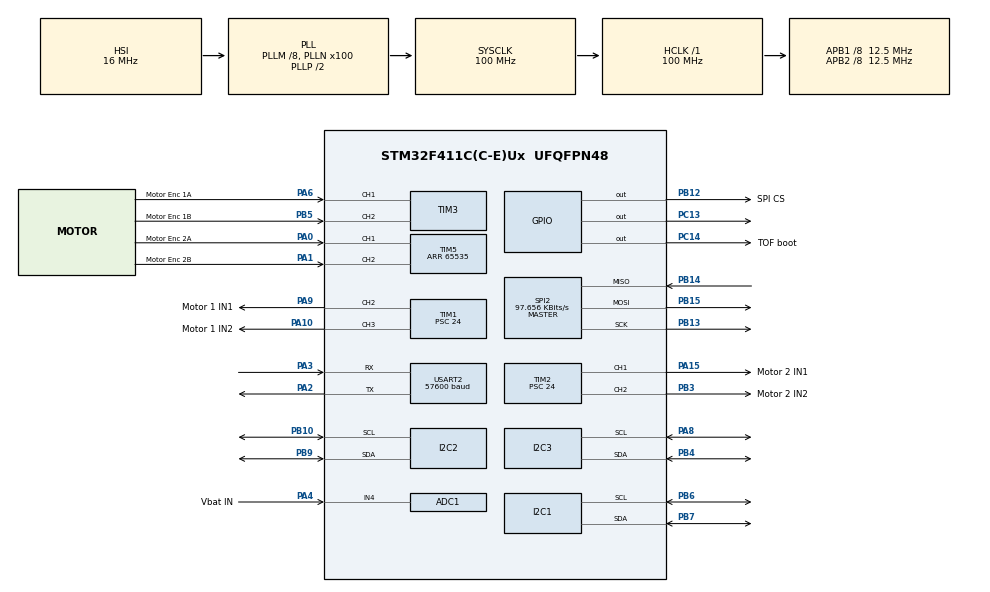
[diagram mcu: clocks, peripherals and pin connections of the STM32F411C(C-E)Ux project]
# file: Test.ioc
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ADC1.Channel-0\#ChannelRegularConversion=ADC_CHANNEL_4
ADC1.NbrOfConversionFlag=1
ADC1.Rank-0\#ChannelRegularConversion=1
ADC1.SamplingTime-0\#ChannelRegularConversion=ADC_SAMPLETIME_3CYCLES
ADC1.master=1
I2C1.I2C_Mode=I2C_Fast
I2C2.I2C_Mode=I2C_Fast
I2C3.I2C_Mode=I2C_Fast
Mcu.Family=STM32F4
Mcu.Name=STM32F411C(C-E)Ux
Mcu.Package=UFQFPN48
NVIC.I2C1_ER_IRQn=true\:0\:0\:false\:false\:true\:true\:true\:true
NVIC.I2C1_EV_IRQn=true\:0\:0\:false\:false\:true\:true\:true\:true
NVIC.I2C2_ER_IRQn=true\:0\:0\:true\:false\:true\:true\:true\:true
NVIC.I2C2_EV_IRQn=true\:0\:0\:true\:false\:true\:true\:true\:true
NVIC.I2C3_ER_IRQn=true\:0\:0\:true\:false\:true\:true\:true\:true
NVIC.I2C3_EV_IRQn=true\:0\:0\:true\:false\:true\:true\:true\:true
NVIC.PriorityGroup=NVIC_PRIORITYGROUP_4
NVIC.TIM1_TRG_COM_TIM11_IRQn=true\:0\:0\:false\:false\:true\:true\:true\:true
NVIC.USART2_IRQn=true\:0\:0\:false\:false\:true\:true\:true\:true
PA0-WKUP.GPIO_Label=Motor Enc 2A
PA0-WKUP.Signal=S_TIM5_CH1
PA1.GPIO_Label=Motor Enc 2B
PA1.Signal=S_TIM5_CH2
PA10.GPIO_Label=Motor 1 IN2
PA10.Signal=S_TIM1_CH3
PA15.GPIO_Label=Motor 2 IN1
PA15.Signal=S_TIM2_CH1_ETR
PA2.Mode=Asynchronous
PA2.Signal=USART2_TX
PA3.Mode=Asynchronous
PA3.Signal=USART2_RX
PA4.GPIO_Label=Vbat IN
PA4.Signal=ADCx_IN4
PA6.GPIO_Label=Motor Enc 1A
PA6.Signal=S_TIM3_CH1
PA8.Mode=I2C
PA8.Signal=I2C3_SCL
PA9.GPIO_Label=Motor 1 IN1
PA9.Signal=S_TIM1_CH2
PB10.Mode=I2C
PB10.Signal=I2C2_SCL
PB12.GPIO_Label=SPI CS
PB12.Signal=GPIO_Output
PB13.Mode=Full_Duplex_Master
PB13.Signal=SPI2_SCK
PB14.Mode=Full_Duplex_Master
PB14.Signal=SPI2_MISO
PB15.Mode=Full_Duplex_Master
PB15.Signal=SPI2_MOSI
PB3.GPIO_Label=Motor 2 IN2
PB3.Signal=S_TIM2_CH2
PB4.Mode=I2C
PB4.Signal=I2C3_SDA
PB5.GPIO_Label=Motor Enc 1B
PB5.Signal=S_TIM3_CH2
PB6.GPIO_Pu=GPIO_PULLUP
PB6.Mode=I2C
PB6.Signal=I2C1_SCL
PB7.Mode=I2C
PB7.Signal=I2C1_SDA
PB9.Mode=I2C
PB9.Signal=I2C2_SDA
PC13-ANTI_TAMP.Signal=GPIO_Output
PC14-OSC32_IN.GPIO_Label=TOF boot
PC14-OSC32_IN.GPIO_PuPd=GPIO_PULLUP
PC14-OSC32_IN.Signal=GPIO_Output
ProjectManager.HeapSize=0x200
ProjectManager.StackSize=0x400
ProjectManager.TargetToolchain=STM32CubeIDE
RCC.48MHZClocksFreq_Value=50000000
RCC.AHBFreq_Value=100000000
RCC.APB1CLKDivider=RCC_HCLK_DIV8
RCC.APB1Freq_Value=12500000
RCC.APB1TimFreq_Value=25000000
RCC.APB2CLKDivider=RCC_HCLK_DIV8
RCC.APB2Freq_Value=12500000
RCC.APB2TimFreq_Value=25000000
RCC.CortexFreq_Value=100000000
RCC.HCLKFreq_Value=100000000
RCC.HSE_VALUE=25000000
RCC.HSI_VALUE=16000000
RCC.LSE_VALUE=32768
RCC.PLLM=8
RCC.PLLN=100
RCC.SYSCLKFreq_VALUE=100000000
RCC.SYSCLKSource=RCC_SYSCLKSOURCE_PLLCLK
RCC.VCOOutputFreq_Value=200000000
SH.ADCx_IN4.0=ADC1_IN4,IN4
SH.S_TIM1_CH2.0=TIM1_CH2,PWM Generation2 CH2
SH.S_TIM1_CH3.0=TIM1_CH3,PWM Generation3 CH3
SH.S_TIM2_CH1_ETR.0=TIM2_CH1,PWM Generation1 CH1
SH.S_TIM2_CH2.0=TIM2_CH2,PWM Generation2 CH2
SH.S_TIM3_CH1.0=TIM3_CH1,Encoder_Interface
SH.S_TIM3_CH2.0=TIM3_CH2,Encoder_Interface
SH.S_TIM5_CH1.0=TIM5_CH1,Encoder_Interface
SH.S_TIM5_CH2.0=TIM5_CH2,Encoder_Interface
SPI2.BaudRatePrescaler=SPI_BAUDRATEPRESCALER_128
SPI2.CalculateBaudRate=97.656 KBits/s
SPI2.Direction=SPI_DIRECTION_2LINES
SPI2.Mode=SPI_MODE_MASTER
SPI2.VirtualType=VM_MASTER
TIM1.Channel-PWM\ Generation2\ CH2=TIM_CHANNEL_2
TIM1.Channel-PWM\ Generation3\ CH3=TIM_CHANNEL_3
TIM1.Period=1000
TIM1.Prescaler=24
TIM11.Period=8000
TIM11.Prescaler=24
TIM2.Channel-PWM\ Generation1\ CH1=TIM_CHANNEL_1
TIM2.Channel-PWM\ Generation2\ CH2=TIM_CHANNEL_2
TIM2.Period=1000
TIM2.Prescaler=24
TIM3.Channel-Input_Capture4_from_TI4=TIM_CHANNEL_4
TIM3.EncoderMode=TIM_ENCODERMODE_TI12
TIM5.EncoderMode=TIM_ENCODERMODE_TI12
TIM5.IC1Polarity=TIM_ICPOLARITY_FALLING
TIM5.Period=65535
USART2.BaudRate=57600
USART2.VirtualMode=VM_ASYNC
VP_TIM11_VS_ClockSourceINT.Mode=Enable_Timer
VP_TIM1_VS_ClockSourceINT.Mode=Internal
VP_TIM2_VS_ClockSourceINT.Mode=Internal
board=custom

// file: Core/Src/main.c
/* USER CODE BEGIN Header */
/**
 ******************************************************************************
 * @file           : main.c
 * @brief          : Main program body
 ******************************************************************************
 * @attention
 *
 * Copyright (c) 2024 STMicroelectronics.
 * All rights reserved.
 *
 * This software is licensed under terms that can be found in the LICENSE file
 * in the root directory of this software component.
 * If no LICENSE file comes with this software, it is provided AS-IS.
 *
 ******************************************************************************
 */
/* USER CODE END Header */
#include "main.h"

/* USER CODE BEGIN Includes */
#include "stdio.h"
#include "motor_control.h"
#include "globals.h"
#include "string.h"
#include "uart_driver.h"
#include "TOF_manager.h"
#include "mazemanager.h"
/* USER CODE END Includes */

ADC_HandleTypeDef hadc1;

I2C_HandleTypeDef hi2c1;
I2C_HandleTypeDef hi2c2;
I2C_HandleTypeDef hi2c3;

SPI_HandleTypeDef hspi2;

TIM_HandleTypeDef htim1;
TIM_HandleTypeDef htim2;
TIM_HandleTypeDef htim3;
TIM_HandleTypeDef htim5;
TIM_HandleTypeDef htim11;

UART_HandleTypeDef huart2;

/* USER CODE BEGIN PV */
extern char send_buffer[64];
extern int16_t L_prev_enc_count;
extern int16_t R_prev_enc_count;
extern int32_t L_ctrl_signal;
extern int32_t R_ctrl_signal;
extern int32_t L_error;
extern int32_t R_error;
extern int16_t L_speed_setpoint; //mm/s
extern int16_t R_speed_setpoint;//mm/s
extern uint8_t measurements[3]; //L:M:R
/* USER CODE END PV */

void SystemClock_Config(void);
static void MX_GPIO_Init(void);
static void MX_I2C1_Init(void);
static void MX_I2C2_Init(void);
static void MX_ADC1_Init(void);
static void MX_I2C3_Init(void);
static void MX_TIM3_Init(void);
static void MX_TIM5_Init(void);
static void MX_TIM1_Init(void);
static void MX_TIM2_Init(void);
static void MX_USART2_UART_Init(void);
static void MX_SPI2_Init(void);
static void MX_TIM11_Init(void);

int main(void)
{

  /* MCU Configuration--------------------------------------------------------*/

  /* Reset of all peripherals, Initializes the Flash interface and the Systick. */
  HAL_Init();

  /* Configure the system clock */
  SystemClock_Config();

  /* Initialize all configured peripherals */
  MX_GPIO_Init();
  MX_I2C1_Init();
  MX_I2C2_Init();
  MX_ADC1_Init();
  MX_I2C3_Init();
  MX_TIM3_Init();
  MX_TIM5_Init();
  MX_TIM1_Init();
  MX_TIM2_Init();
  MX_USART2_UART_Init();
  MX_SPI2_Init();
  MX_TIM11_Init();
  /* USER CODE BEGIN 2 */
	motorsInit();
	TOF_init();
	maze_init();
	HAL_Delay(200);
	uart_startup_transmit();
//	HAL_ADC_Start(&hadc1);
	if (HAL_FLASH_Unlock() != HAL_OK) while(1){  HAL_Delay(10);}

	HAL_Delay(200);
//	int last_time = HAL_GetTick();
//
//	  while (1)
//	  {
//		  if (HAL_GetTick()- last_time > 9){
//			  last_time = HAL_GetTick();
//			  sprintf(send_buffer, "%d:%d:%d\n", measurements[0],measurements[1],measurements[2]);
//			  uart_transmit(send_buffer, strlen(send_buffer));
//		  }
//	  }
//	race_forward(360);
//	align();
	R_speed_setpoint = 0;
	L_speed_setpoint = 0;
	while(measurements[1]>100) HAL_Delay(100);
	while(measurements[1]<100) HAL_Delay(100);

	uint8_t runcount = 0;
	HAL_Delay(5000);
	while(runcount<6 && HAL_GetTick()<600*1000){
		explore();
		go_home();
		HAL_Delay(2000);
	//	race();
		race_man();
		HAL_Delay(1000);
		go_home();
		HAL_Delay(1000);
		runcount++;
	}
	uint32_t prev_ctr_loop_time = HAL_GetTick();
	uint32_t prev_main_loop_time = HAL_GetTick();

  /* USER CODE END 2 */

  /* Infinite loop */
  /* USER CODE BEGIN WHILE */
	while (1)
	{

		uart_task();
		if (HAL_GetTick() - prev_main_loop_time > 101){
			prev_main_loop_time = HAL_GetTick();

		}
		// main control loop: CONTROL_LOOP_PERIOD_MS
		if (HAL_GetTick() - prev_ctr_loop_time > STR_CONTROL_LOOP_PERIOD_MS){
			prev_ctr_loop_time = HAL_GetTick();
			sprintf(send_buffer, "L:%.3d M:%.3d R:%.3d LE:%.3d RE:%.3d\n",(int)measurements[0],(int)measurements[1] ,(int)measurements[2], (int)htim5.Instance->CNT, (int)htim3.Instance->CNT);
			uart_transmit(send_buffer, strlen(send_buffer));
		}
    /* USER CODE END WHILE */

	}
}

void SystemClock_Config(void)
{
  RCC_OscInitTypeDef RCC_OscInitStruct = {0};
  RCC_ClkInitTypeDef RCC_ClkInitStruct = {0};

  /** Configure the main internal regulator output voltage
  */
  __HAL_RCC_PWR_CLK_ENABLE();
  __HAL_PWR_VOLTAGESCALING_CONFIG(PWR_REGULATOR_VOLTAGE_SCALE1);

  /** Initializes the RCC Oscillators according to the specified parameters
  * in the RCC_OscInitTypeDef structure.
  */
  RCC_OscInitStruct.OscillatorType = RCC_OSCILLATORTYPE_HSI;
  RCC_OscInitStruct.HSIState = RCC_HSI_ON;
  RCC_OscInitStruct.HSICalibrationValue = RCC_HSICALIBRATION_DEFAULT;
  RCC_OscInitStruct.PLL.PLLState = RCC_PLL_ON;
  RCC_OscInitStruct.PLL.PLLSource = RCC_PLLSOURCE_HSI;
  RCC_OscInitStruct.PLL.PLLM = 8;
  RCC_OscInitStruct.PLL.PLLN = 100;
  RCC_OscInitStruct.PLL.PLLP = RCC_PLLP_DIV2;
  RCC_OscInitStruct.PLL.PLLQ = 4;
  if (HAL_RCC_OscConfig(&RCC_OscInitStruct) != HAL_OK)
  {
    Error_Handler();
  }

  /** Initializes the CPU, AHB and APB buses clocks
  */
  RCC_ClkInitStruct.ClockType = RCC_CLOCKTYPE_HCLK|RCC_CLOCKTYPE_SYSCLK
                              |RCC_CLOCKTYPE_PCLK1|RCC_CLOCKTYPE_PCLK2;
  RCC_ClkInitStruct.SYSCLKSource = RCC_SYSCLKSOURCE_PLLCLK;
  RCC_ClkInitStruct.AHBCLKDivider = RCC_SYSCLK_DIV1;
  RCC_ClkInitStruct.APB1CLKDivider = RCC_HCLK_DIV8;
  RCC_ClkInitStruct.APB2CLKDivider = RCC_HCLK_DIV8;

  if (HAL_RCC_ClockConfig(&RCC_ClkInitStruct, FLASH_LATENCY_3) != HAL_OK)
  {
    Error_Handler();
  }
}

static void MX_ADC1_Init(void)
{

  ADC_ChannelConfTypeDef sConfig = {0};

  /** Configure the global features of the ADC (Clock, Resolution, Data Alignment and number of conversion)
  */
  hadc1.Instance = ADC1;
  hadc1.Init.ClockPrescaler = ADC_CLOCK_SYNC_PCLK_DIV2;
  hadc1.Init.Resolution = ADC_RESOLUTION_12B;
  hadc1.Init.ScanConvMode = DISABLE;
  hadc1.Init.ContinuousConvMode = DISABLE;
  hadc1.Init.DiscontinuousConvMode = DISABLE;
  hadc1.Init.ExternalTrigConvEdge = ADC_EXTERNALTRIGCONVEDGE_NONE;
  hadc1.Init.ExternalTrigConv = ADC_SOFTWARE_START;
  hadc1.Init.DataAlign = ADC_DATAALIGN_RIGHT;
  hadc1.Init.NbrOfConversion = 1;
  hadc1.Init.DMAContinuousRequests = DISABLE;
  hadc1.Init.EOCSelection = ADC_EOC_SINGLE_CONV;
  if (HAL_ADC_Init(&hadc1) != HAL_OK)
  {
    Error_Handler();
  }

  /** Configure for the selected ADC regular channel its corresponding rank in the sequencer and its sample time.
  */
  sConfig.Channel = ADC_CHANNEL_4;
  sConfig.Rank = 1;
  sConfig.SamplingTime = ADC_SAMPLETIME_3CYCLES;
  if (HAL_ADC_ConfigChannel(&hadc1, &sConfig) != HAL_OK)
  {
    Error_Handler();
  }

}

static void MX_I2C1_Init(void)
{

  hi2c1.Instance = I2C1;
  hi2c1.Init.ClockSpeed = 400000;
  hi2c1.Init.DutyCycle = I2C_DUTYCYCLE_2;
  hi2c1.Init.OwnAddress1 = 0;
  hi2c1.Init.AddressingMode = I2C_ADDRESSINGMODE_7BIT;
  hi2c1.Init.DualAddressMode = I2C_DUALADDRESS_DISABLE;
  hi2c1.Init.OwnAddress2 = 0;
  hi2c1.Init.GeneralCallMode = I2C_GENERALCALL_DISABLE;
  hi2c1.Init.NoStretchMode = I2C_NOSTRETCH_DISABLE;
  if (HAL_I2C_Init(&hi2c1) != HAL_OK)
  {
    Error_Handler();
  }

}

static void MX_I2C2_Init(void)
{

  hi2c2.Instance = I2C2;
  hi2c2.Init.ClockSpeed = 400000;
  hi2c2.Init.DutyCycle = I2C_DUTYCYCLE_2;
  hi2c2.Init.OwnAddress1 = 0;
  hi2c2.Init.AddressingMode = I2C_ADDRESSINGMODE_7BIT;
  hi2c2.Init.DualAddressMode = I2C_DUALADDRESS_DISABLE;
  hi2c2.Init.OwnAddress2 = 0;
  hi2c2.Init.GeneralCallMode = I2C_GENERALCALL_DISABLE;
  hi2c2.Init.NoStretchMode = I2C_NOSTRETCH_DISABLE;
  if (HAL_I2C_Init(&hi2c2) != HAL_OK)
  {
    Error_Handler();
  }

}

static void MX_I2C3_Init(void)
{

  hi2c3.Instance = I2C3;
  hi2c3.Init.ClockSpeed = 400000;
  hi2c3.Init.DutyCycle = I2C_DUTYCYCLE_2;
  hi2c3.Init.OwnAddress1 = 0;
  hi2c3.Init.AddressingMode = I2C_ADDRESSINGMODE_7BIT;
  hi2c3.Init.DualAddressMode = I2C_DUALADDRESS_DISABLE;
  hi2c3.Init.OwnAddress2 = 0;
  hi2c3.Init.GeneralCallMode = I2C_GENERALCALL_DISABLE;
  hi2c3.Init.NoStretchMode = I2C_NOSTRETCH_DISABLE;
  if (HAL_I2C_Init(&hi2c3) != HAL_OK)
  {
    Error_Handler();
  }

}

static void MX_SPI2_Init(void)
{

  /* SPI2 parameter configuration*/
  hspi2.Instance = SPI2;
  hspi2.Init.Mode = SPI_MODE_MASTER;
  hspi2.Init.Direction = SPI_DIRECTION_2LINES;
  hspi2.Init.DataSize = SPI_DATASIZE_8BIT;
  hspi2.Init.CLKPolarity = SPI_POLARITY_LOW;
  hspi2.Init.CLKPhase = SPI_PHASE_1EDGE;
  hspi2.Init.NSS = SPI_NSS_SOFT;
  hspi2.Init.BaudRatePrescaler = SPI_BAUDRATEPRESCALER_128;
  hspi2.Init.FirstBit = SPI_FIRSTBIT_MSB;
  hspi2.Init.TIMode = SPI_TIMODE_DISABLE;
  hspi2.Init.CRCCalculation = SPI_CRCCALCULATION_DISABLE;
  hspi2.Init.CRCPolynomial = 10;
  if (HAL_SPI_Init(&hspi2) != HAL_OK)
  {
    Error_Handler();
  }

}

static void MX_TIM1_Init(void)
{

  TIM_ClockConfigTypeDef sClockSourceConfig = {0};
  TIM_MasterConfigTypeDef sMasterConfig = {0};
  TIM_OC_InitTypeDef sConfigOC = {0};
  TIM_BreakDeadTimeConfigTypeDef sBreakDeadTimeConfig = {0};

  htim1.Instance = TIM1;
  htim1.Init.Prescaler = 24;
  htim1.Init.CounterMode = TIM_COUNTERMODE_UP;
  htim1.Init.Period = 1000;
  htim1.Init.ClockDivision = TIM_CLOCKDIVISION_DIV1;
  htim1.Init.RepetitionCounter = 0;
  htim1.Init.AutoReloadPreload = TIM_AUTORELOAD_PRELOAD_DISABLE;
  if (HAL_TIM_Base_Init(&htim1) != HAL_OK)
  {
    Error_Handler();
  }
  sClockSourceConfig.ClockSource = TIM_CLOCKSOURCE_INTERNAL;
  if (HAL_TIM_ConfigClockSource(&htim1, &sClockSourceConfig) != HAL_OK)
  {
    Error_Handler();
  }
  if (HAL_TIM_PWM_Init(&htim1) != HAL_OK)
  {
    Error_Handler();
  }
  sMasterConfig.MasterOutputTrigger = TIM_TRGO_RESET;
  sMasterConfig.MasterSlaveMode = TIM_MASTERSLAVEMODE_DISABLE;
  if (HAL_TIMEx_MasterConfigSynchronization(&htim1, &sMasterConfig) != HAL_OK)
  {
    Error_Handler();
  }
  sConfigOC.OCMode = TIM_OCMODE_PWM1;
  sConfigOC.Pulse = 0;
  sConfigOC.OCPolarity = TIM_OCPOLARITY_HIGH;
  sConfigOC.OCNPolarity = TIM_OCNPOLARITY_HIGH;
  sConfigOC.OCFastMode = TIM_OCFAST_DISABLE;
  sConfigOC.OCIdleState = TIM_OCIDLESTATE_RESET;
  sConfigOC.OCNIdleState = TIM_OCNIDLESTATE_RESET;
  if (HAL_TIM_PWM_ConfigChannel(&htim1, &sConfigOC, TIM_CHANNEL_2) != HAL_OK)
  {
    Error_Handler();
  }
  if (HAL_TIM_PWM_ConfigChannel(&htim1, &sConfigOC, TIM_CHANNEL_3) != HAL_OK)
  {
    Error_Handler();
  }
  sBreakDeadTimeConfig.OffStateRunMode = TIM_OSSR_DISABLE;
  sBreakDeadTimeConfig.OffStateIDLEMode = TIM_OSSI_DISABLE;
  sBreakDeadTimeConfig.LockLevel = TIM_LOCKLEVEL_OFF;
  sBreakDeadTimeConfig.DeadTime = 0;
  sBreakDeadTimeConfig.BreakState = TIM_BREAK_DISABLE;
  sBreakDeadTimeConfig.BreakPolarity = TIM_BREAKPOLARITY_HIGH;
  sBreakDeadTimeConfig.AutomaticOutput = TIM_AUTOMATICOUTPUT_DISABLE;
  if (HAL_TIMEx_ConfigBreakDeadTime(&htim1, &sBreakDeadTimeConfig) != HAL_OK)
  {
    Error_Handler();
  }
  HAL_TIM_MspPostInit(&htim1);

}

static void MX_TIM2_Init(void)
{

  TIM_ClockConfigTypeDef sClockSourceConfig = {0};
  TIM_MasterConfigTypeDef sMasterConfig = {0};
  TIM_OC_InitTypeDef sConfigOC = {0};

  htim2.Instance = TIM2;
  htim2.Init.Prescaler = 24;
  htim2.Init.CounterMode = TIM_COUNTERMODE_UP;
  htim2.Init.Period = 1000;
  htim2.Init.ClockDivision = TIM_CLOCKDIVISION_DIV1;
  htim2.Init.AutoReloadPreload = TIM_AUTORELOAD_PRELOAD_DISABLE;
  if (HAL_TIM_Base_Init(&htim2) != HAL_OK)
  {
    Error_Handler();
  }
  sClockSourceConfig.ClockSource = TIM_CLOCKSOURCE_INTERNAL;
  if (HAL_TIM_ConfigClockSource(&htim2, &sClockSourceConfig) != HAL_OK)
  {
    Error_Handler();
  }
  if (HAL_TIM_PWM_Init(&htim2) != HAL_OK)
  {
    Error_Handler();
  }
  sMasterConfig.MasterOutputTrigger = TIM_TRGO_RESET;
  sMasterConfig.MasterSlaveMode = TIM_MASTERSLAVEMODE_DISABLE;
  if (HAL_TIMEx_MasterConfigSynchronization(&htim2, &sMasterConfig) != HAL_OK)
  {
    Error_Handler();
  }
  sConfigOC.OCMode = TIM_OCMODE_PWM1;
  sConfigOC.Pulse = 0;
  sConfigOC.OCPolarity = TIM_OCPOLARITY_HIGH;
  sConfigOC.OCFastMode = TIM_OCFAST_DISABLE;
  if (HAL_TIM_PWM_ConfigChannel(&htim2, &sConfigOC, TIM_CHANNEL_1) != HAL_OK)
  {
    Error_Handler();
  }
  if (HAL_TIM_PWM_ConfigChannel(&htim2, &sConfigOC, TIM_CHANNEL_2) != HAL_OK)
  {
    Error_Handler();
  }
  HAL_TIM_MspPostInit(&htim2);

}

static void MX_TIM3_Init(void)
{

  TIM_Encoder_InitTypeDef sConfig = {0};
  TIM_MasterConfigTypeDef sMasterConfig = {0};

  htim3.Instance = TIM3;
  htim3.Init.Prescaler = 0;
  htim3.Init.CounterMode = TIM_COUNTERMODE_UP;
  htim3.Init.Period = 65535;
  htim3.Init.ClockDivision = TIM_CLOCKDIVISION_DIV1;
  htim3.Init.AutoReloadPreload = TIM_AUTORELOAD_PRELOAD_DISABLE;
  sConfig.EncoderMode = TIM_ENCODERMODE_TI12;
  sConfig.IC1Polarity = TIM_ICPOLARITY_RISING;
  sConfig.IC1Selection = TIM_ICSELECTION_DIRECTTI;
  sConfig.IC1Prescaler = TIM_ICPSC_DIV1;
  sConfig.IC1Filter = 0;
  sConfig.IC2Polarity = TIM_ICPOLARITY_RISING;
  sConfig.IC2Selection = TIM_ICSELECTION_DIRECTTI;
  sConfig.IC2Prescaler = TIM_ICPSC_DIV1;
  sConfig.IC2Filter = 0;
  if (HAL_TIM_Encoder_Init(&htim3, &sConfig) != HAL_OK)
  {
    Error_Handler();
  }
  sMasterConfig.MasterOutputTrigger = TIM_TRGO_RESET;
  sMasterConfig.MasterSlaveMode = TIM_MASTERSLAVEMODE_DISABLE;
  if (HAL_TIMEx_MasterConfigSynchronization(&htim3, &sMasterConfig) != HAL_OK)
  {
    Error_Handler();
  }

}

static void MX_TIM5_Init(void)
{

  TIM_Encoder_InitTypeDef sConfig = {0};
  TIM_MasterConfigTypeDef sMasterConfig = {0};

  htim5.Instance = TIM5;
  htim5.Init.Prescaler = 0;
  htim5.Init.CounterMode = TIM_COUNTERMODE_UP;
  htim5.Init.Period = 65535;
  htim5.Init.ClockDivision = TIM_CLOCKDIVISION_DIV1;
  htim5.Init.AutoReloadPreload = TIM_AUTORELOAD_PRELOAD_DISABLE;
  sConfig.EncoderMode = TIM_ENCODERMODE_TI12;
  sConfig.IC1Polarity = TIM_ICPOLARITY_FALLING;
  sConfig.IC1Selection = TIM_ICSELECTION_DIRECTTI;
  sConfig.IC1Prescaler = TIM_ICPSC_DIV1;
  sConfig.IC1Filter = 0;
  sConfig.IC2Polarity = TIM_ICPOLARITY_RISING;
  sConfig.IC2Selection = TIM_ICSELECTION_DIRECTTI;
  sConfig.IC2Prescaler = TIM_ICPSC_DIV1;
  sConfig.IC2Filter = 0;
  if (HAL_TIM_Encoder_Init(&htim5, &sConfig) != HAL_OK)
  {
    Error_Handler();
  }
  sMasterConfig.MasterOutputTrigger = TIM_TRGO_RESET;
  sMasterConfig.MasterSlaveMode = TIM_MASTERSLAVEMODE_DISABLE;
  if (HAL_TIMEx_MasterConfigSynchronization(&htim5, &sMasterConfig) != HAL_OK)
  {
    Error_Handler();
  }

}

static void MX_TIM11_Init(void)
{

  htim11.Instance = TIM11;
  htim11.Init.Prescaler = 24;
  htim11.Init.CounterMode = TIM_COUNTERMODE_UP;
  htim11.Init.Period = 7500;
  htim11.Init.ClockDivision = TIM_CLOCKDIVISION_DIV1;
  htim11.Init.AutoReloadPreload = TIM_AUTORELOAD_PRELOAD_DISABLE;
  if (HAL_TIM_Base_Init(&htim11) != HAL_OK)
  {
    Error_Handler();
  }

}

static void MX_USART2_UART_Init(void)
{

  huart2.Instance = USART2;
  huart2.Init.BaudRate = 57600;
  huart2.Init.WordLength = UART_WORDLENGTH_8B;
  huart2.Init.StopBits = UART_STOPBITS_1;
  huart2.Init.Parity = UART_PARITY_NONE;
  huart2.Init.Mode = UART_MODE_TX_RX;
  huart2.Init.HwFlowCtl = UART_HWCONTROL_NONE;
  huart2.Init.OverSampling = UART_OVERSAMPLING_16;
  if (HAL_UART_Init(&huart2) != HAL_OK)
  {
    Error_Handler();
  }

}

static void MX_GPIO_Init(void)
{
  GPIO_InitTypeDef GPIO_InitStruct = {0};

  /* GPIO Ports Clock Enable */
  __HAL_RCC_GPIOC_CLK_ENABLE();
  __HAL_RCC_GPIOA_CLK_ENABLE();
  __HAL_RCC_GPIOB_CLK_ENABLE();

  /*Configure GPIO pin Output Level */
  HAL_GPIO_WritePin(GPIOC, GPIO_PIN_13|TOF_boot_Pin, GPIO_PIN_RESET);

  /*Configure GPIO pin Output Level */
  HAL_GPIO_WritePin(SPI_CS_GPIO_Port, SPI_CS_Pin, GPIO_PIN_RESET);

  /*Configure GPIO pin : PC13 */
  GPIO_InitStruct.Pin = GPIO_PIN_13;
  GPIO_InitStruct.Mode = GPIO_MODE_OUTPUT_PP;
  GPIO_InitStruct.Pull = GPIO_NOPULL;
  GPIO_InitStruct.Speed = GPIO_SPEED_FREQ_LOW;
  HAL_GPIO_Init(GPIOC, &GPIO_InitStruct);

  /*Configure GPIO pin : TOF_boot_Pin */
  GPIO_InitStruct.Pin = TOF_boot_Pin;
  GPIO_InitStruct.Mode = GPIO_MODE_OUTPUT_PP;
  GPIO_InitStruct.Pull = GPIO_PULLUP;
  GPIO_InitStruct.Speed = GPIO_SPEED_FREQ_LOW;
  HAL_GPIO_Init(TOF_boot_GPIO_Port, &GPIO_InitStruct);

  /*Configure GPIO pin : SPI_CS_Pin */
  GPIO_InitStruct.Pin = SPI_CS_Pin;
  GPIO_InitStruct.Mode = GPIO_MODE_OUTPUT_PP;
  GPIO_InitStruct.Pull = GPIO_NOPULL;
  GPIO_InitStruct.Speed = GPIO_SPEED_FREQ_LOW;
  HAL_GPIO_Init(SPI_CS_GPIO_Port, &GPIO_InitStruct);

}

void Error_Handler(void)
{
	__disable_irq();
	while (1)
	{
	}
}
